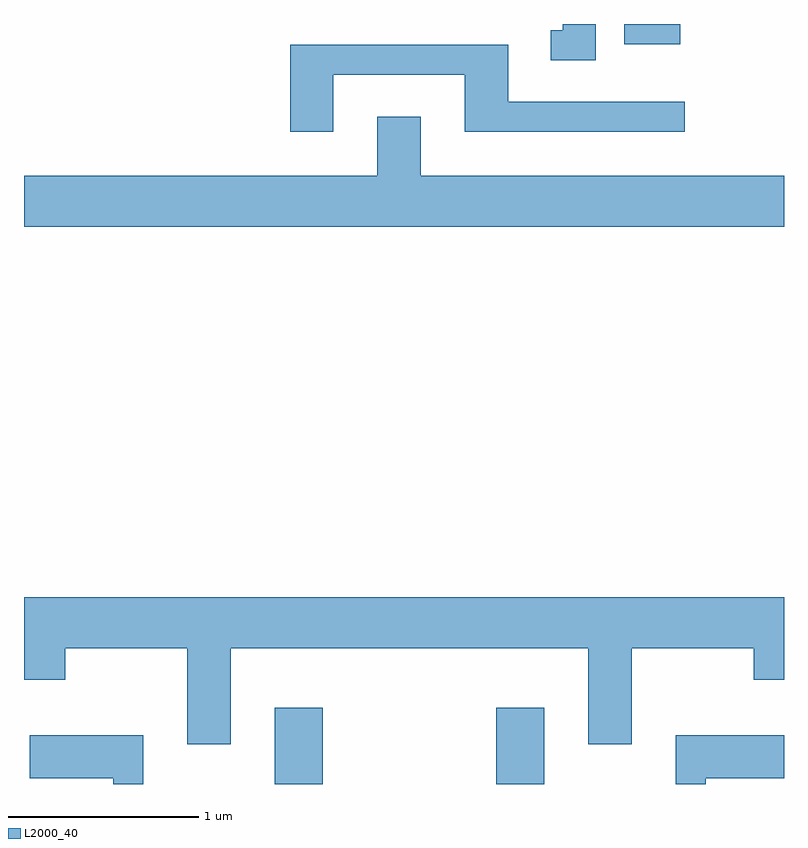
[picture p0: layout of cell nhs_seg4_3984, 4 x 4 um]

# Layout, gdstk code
import gdstk
lib = gdstk.Library(unit=1e-6, precision=1e-09)
def R(c, l, rs):  # rectangles x0, y0, x1, y1
    for r in rs: c.add(gdstk.rectangle(r[:2], r[2:], *l))
def P(c, l, *ps):  # polygons
    for p in ps: c.add(gdstk.Polygon(p, *l))
L2000_40 = (2000, 40)

nhs_seg4_3984 = lib.new_cell('nhs_seg4_3984')
R(nhs_seg4_3984, L2000_40, [(302.931,1333.982,303.184,1334.384), (304.096,1333.982,304.349,1334.384), (304.771,1337.876,305.064,1337.982)])
P(nhs_seg4_3984, L2000_40, [(304.619,1337.982),(304.446,1337.982),(304.446,1337.949),(304.383,1337.949),(304.383,1337.791),(304.619,1337.791)],
  [(303.239,1337.716),(303.931,1337.716),(303.931,1337.416),(305.088,1337.416),(305.088,1337.574),(304.159,1337.574),(304.159,1337.874),(303.011,1337.874),(303.011,1337.416),(303.239,1337.416)],
  [(305.611,1337.184),(303.699,1337.184),(303.699,1337.494),(303.471,1337.494),(303.471,1337.184),(301.611,1337.184),(301.611,1336.916),(305.611,1336.916)],
  [(302.699,1334.696),(304.581,1334.696),(304.581,1334.191),(304.809,1334.191),(304.809,1334.696),(305.451,1334.696),(305.451,1334.531),(305.611,1334.531),(305.611,1334.964),(301.611,1334.964),(301.611,1334.531),(301.829,1334.531),(301.829,1334.696),(302.471,1334.696),(302.471,1334.191),(302.699,1334.191)],
  [(302.239,1334.239),(301.641,1334.239),(301.641,1334.011),(302.081,1334.011),(302.081,1333.982),(302.239,1333.982)],
  [(305.199,1334.011),(305.611,1334.011),(305.611,1334.239),(305.041,1334.239),(305.041,1333.982),(305.199,1333.982)])

lib.write_gds('nhs_seg4_3984.gds')
